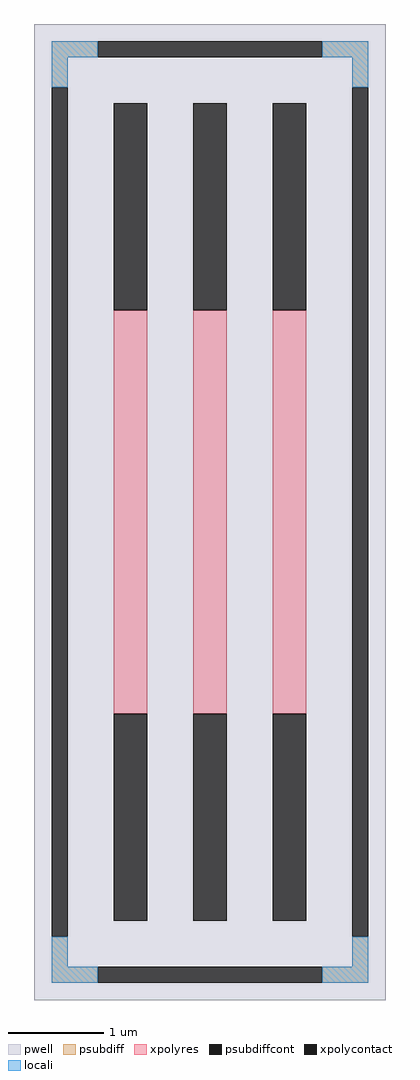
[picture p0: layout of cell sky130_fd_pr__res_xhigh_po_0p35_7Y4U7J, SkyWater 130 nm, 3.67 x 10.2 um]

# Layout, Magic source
magic
tech sky130A
magscale 1 2
<< pwell >>
rect -367 -1020 367 1020
<< psubdiff >>
rect -331 950 -235 984
rect 235 950 331 984
rect -331 888 -297 950
rect 297 888 331 950
rect -331 -950 -297 -888
rect 297 -950 331 -888
rect -331 -984 -235 -950
rect 235 -984 331 -950
<< psubdiffcont >>
rect -235 950 235 984
rect -331 -888 -297 888
rect 297 -888 331 888
rect -235 -984 235 -950
<< xpolycontact >>
rect -201 422 -131 854
rect -201 -854 -131 -422
rect -35 422 35 854
rect -35 -854 35 -422
rect 131 422 201 854
rect 131 -854 201 -422
<< xpolyres >>
rect -201 -422 -131 422
rect -35 -422 35 422
rect 131 -422 201 422
<< locali >>
rect -331 950 -235 984
rect 235 950 331 984
rect -331 888 -297 950
rect 297 888 331 950
rect -331 -950 -297 -888
rect 297 -950 331 -888
rect -331 -984 -235 -950
rect 235 -984 331 -950
<< properties >>
string FIXED_BBOX -314 -967 314 967
string gencell sky130_fd_pr__res_xhigh_po_0p35
string library sky130
string parameters w 0.350 l 4.375 m 1 nx 3 wmin 0.350 lmin 0.50 class resistor rho 2000 val 26.075k dummy 0 dw 0.0 term 188.2 sterm 0.0 caplen 0 wmax 0.350 guard 1 glc 1 grc 1 gtc 1 gbc 1 compatible {sky130_fd_pr__res_xhigh_po_0p35  sky130_fd_pr__res_xhigh_po_0p69 sky130_fd_pr__res_xhigh_po_1p41  sky130_fd_pr__res_xhigh_po_2p85 sky130_fd_pr__res_xhigh_po_5p73} snake 0 full_metal 1 n_guard 0 hv_guard 0 vias 0 viagb 0 viagt 0 viagl 0 viagr 0
<< end >>
